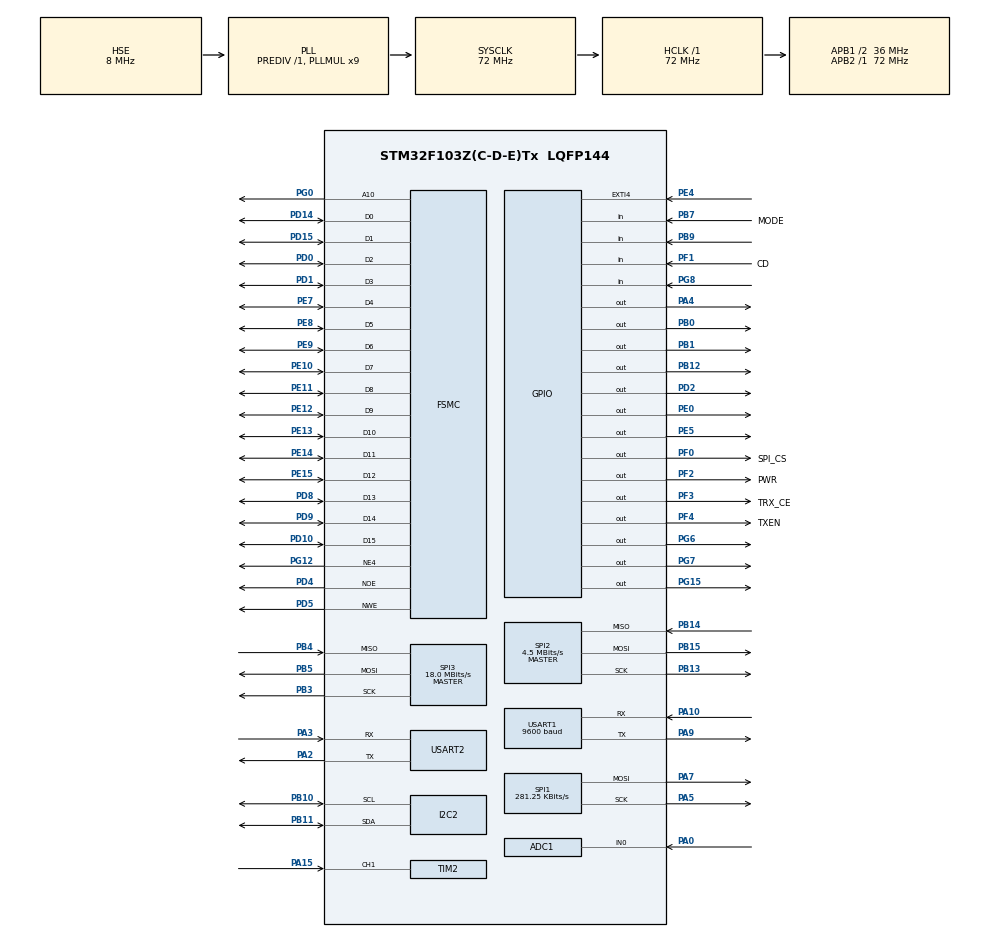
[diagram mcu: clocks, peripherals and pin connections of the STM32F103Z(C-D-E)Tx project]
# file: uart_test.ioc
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ADC1.Channel-0\#ChannelRegularConversion=ADC_CHANNEL_0
ADC1.ExternalTrigConv=ADC_EXTERNALTRIGCONV_T8_TRGO
ADC1.NbrOfConversionFlag=1
ADC1.Rank-0\#ChannelRegularConversion=1
ADC1.SamplingTime-0\#ChannelRegularConversion=ADC_SAMPLETIME_1CYCLE_5
ADC1.master=1
FSMC.AddressSetupTime1=1
FSMC.BusTurnAroundDuration1=0
FSMC.DataSetupTime1=16
FSMC.ExtendedAddressSetupTime1=0
FSMC.ExtendedBusTurnAroundDuration1=0
FSMC.ExtendedDataSetupTime1=1
FSMC.ExtendedMode1=FSMC_EXTENDED_MODE_ENABLE
Mcu.Family=STM32F1
Mcu.Name=STM32F103Z(C-D-E)Tx
Mcu.Package=LQFP144
NVIC.ADC1_2_IRQn=true\:0\:0\:false\:false\:true\:true\:true
NVIC.EXTI4_IRQn=true\:3\:0\:true\:false\:true\:true\:true
NVIC.PriorityGroup=NVIC_PRIORITYGROUP_2
NVIC.TIM2_IRQn=true\:0\:0\:false\:false\:true\:true\:true
NVIC.USART2_IRQn=true\:0\:0\:false\:false\:true\:true\:true
OSC_IN.Mode=HSE-External-Oscillator
OSC_IN.Signal=RCC_OSC_IN
OSC_OUT.Mode=HSE-External-Oscillator
OSC_OUT.Signal=RCC_OSC_OUT
PA0-WKUP.Signal=ADCx_IN0
PA10.GPIO_PuPd=GPIO_NOPULL
PA10.Mode=Asynchronous
PA10.Signal=USART1_RX
PA13.Mode=Serial_Wire
PA13.Signal=SYS_JTMS-SWDIO
PA14.Mode=Serial_Wire
PA14.Signal=SYS_JTCK-SWCLK
PA15.Signal=S_TIM2_CH1_ETR
PA2.GPIO_Speed=GPIO_SPEED_FREQ_HIGH
PA2.Mode=Asynchronous
PA2.Signal=USART2_TX
PA3.GPIO_PuPd=GPIO_NOPULL
PA3.Mode=Asynchronous
PA3.Signal=USART2_RX
PA4.Signal=GPIO_Output
PA5.GPIO_Speed=GPIO_SPEED_FREQ_HIGH
PA5.Mode=TX_Only_Simplex_Unidirect_Master
PA5.Signal=SPI1_SCK
PA7.GPIO_Speed=GPIO_SPEED_FREQ_HIGH
PA7.Mode=TX_Only_Simplex_Unidirect_Master
PA7.Signal=SPI1_MOSI
PA9.GPIO_Speed=GPIO_SPEED_FREQ_HIGH
PA9.Mode=Asynchronous
PA9.Signal=USART1_TX
PB0.Signal=GPIO_Output
PB1.Signal=GPIO_Output
PB10.Mode=I2C
PB10.Signal=I2C2_SCL
PB11.Mode=I2C
PB11.Signal=I2C2_SDA
PB12.GPIO_ModeDefaultOutputPP=GPIO_MODE_OUTPUT_PP
PB12.GPIO_PuPd=GPIO_PULLUP
PB12.GPIO_Speed=GPIO_SPEED_FREQ_HIGH
PB12.PinState=GPIO_PIN_SET
PB12.Signal=GPIO_Output
PB13.Mode=Full_Duplex_Master
PB13.Signal=SPI2_SCK
PB14.Mode=Full_Duplex_Master
PB14.Signal=SPI2_MISO
PB15.Mode=Full_Duplex_Master
PB15.Signal=SPI2_MOSI
PB3.Mode=Full_Duplex_Master
PB3.Signal=SPI3_SCK
PB4.Mode=Full_Duplex_Master
PB4.Signal=SPI3_MISO
PB5.Mode=Full_Duplex_Master
PB5.Signal=SPI3_MOSI
PB7.GPIO_Label=MODE
PB7.Signal=GPIO_Input
PB9.GPIO_PuPd=GPIO_PULLDOWN
PB9.Signal=GPIO_Input
PD0.Signal=FSMC_D2_DA2
PD1.Signal=FSMC_D3_DA3
PD10.Signal=FSMC_D15_DA15
PD14.Signal=FSMC_D0_DA0
PD15.Signal=FSMC_D1_DA1
PD2.GPIO_ModeDefaultOutputPP=GPIO_MODE_OUTPUT_PP
PD2.GPIO_PuPd=GPIO_PULLUP
PD2.GPIO_Speed=GPIO_SPEED_FREQ_HIGH
PD2.PinState=GPIO_PIN_SET
PD2.Signal=GPIO_Output
PD4.Signal=FSMC_NOE
PD5.Signal=FSMC_NWE
PD8.Signal=FSMC_D13_DA13
PD9.Signal=FSMC_D14_DA14
PE0.GPIO_Speed=GPIO_SPEED_FREQ_HIGH
PE0.Signal=GPIO_Output
PE10.Signal=FSMC_D7_DA7
PE11.Signal=FSMC_D8_DA8
PE12.Signal=FSMC_D9_DA9
PE13.Signal=FSMC_D10_DA10
PE14.Signal=FSMC_D11_DA11
PE15.Signal=FSMC_D12_DA12
PE4.GPIO_PuPd=GPIO_PULLUP
PE4.Signal=GPXTI4
PE5.GPIO_PuPd=GPIO_NOPULL
PE5.GPIO_Speed=GPIO_SPEED_FREQ_HIGH
PE5.Signal=GPIO_Output
PE7.Signal=FSMC_D4_DA4
PE8.Signal=FSMC_D5_DA5
PE9.Signal=FSMC_D6_DA6
PF0.GPIO_Label=SPI_CS
PF0.Signal=GPIO_Output
PF1.GPIO_Label=CD
PF1.Signal=GPIO_Input
PF2.GPIO_Label=PWR
PF2.Signal=GPIO_Output
PF3.GPIO_Label=TRX_CE
PF3.Signal=GPIO_Output
PF4.GPIO_Label=TXEN
PF4.Signal=GPIO_Output
PG0.Signal=FSMC_A10
PG12.Mode=NorPsramChipSelect4_1
PG12.Signal=FSMC_NE4
PG15.Signal=GPIO_Output
PG6.GPIO_ModeDefaultOutputPP=GPIO_MODE_OUTPUT_PP
PG6.GPIO_PuPd=GPIO_NOPULL
PG6.GPIO_Speed=GPIO_SPEED_FREQ_HIGH
PG6.PinState=GPIO_PIN_SET
PG6.Signal=GPIO_Output
PG7.GPIO_ModeDefaultOutputPP=GPIO_MODE_OUTPUT_PP
PG7.GPIO_PuPd=GPIO_NOPULL
PG7.GPIO_Speed=GPIO_SPEED_FREQ_HIGH
PG7.PinState=GPIO_PIN_SET
PG7.Signal=GPIO_Output
PG8.GPIO_PuPd=GPIO_PULLDOWN
PG8.Signal=GPIO_Input
ProjectManager.HeapSize=0x200
ProjectManager.StackSize=0x400
ProjectManager.TargetToolchain=MDK-ARM V5
RCC.ADCPresc=RCC_ADCPCLK2_DIV6
RCC.AHBFreq_Value=72000000
RCC.APB1CLKDivider=RCC_HCLK_DIV2
RCC.APB1Freq_Value=36000000
RCC.APB1TimFreq_Value=72000000
RCC.APB2Freq_Value=72000000
RCC.APB2TimFreq_Value=72000000
RCC.HCLKFreq_Value=72000000
RCC.PLLMUL=RCC_PLL_MUL9
RCC.PLLSourceVirtual=RCC_PLLSOURCE_HSE
RCC.SYSCLKFreq_VALUE=72000000
RCC.SYSCLKSource=RCC_SYSCLKSOURCE_PLLCLK
RCC.USBFreq_Value=72000000
SH.ADCx_IN0.0=ADC1_IN0,IN0
SH.FSMC_A10.0=FSMC_A10,A10_1
SH.FSMC_D0_DA0.0=FSMC_D0,16b-d1
SH.FSMC_D10_DA10.0=FSMC_D10,16b-d1
SH.FSMC_D11_DA11.0=FSMC_D11,16b-d1
SH.FSMC_D12_DA12.0=FSMC_D12,16b-d1
SH.FSMC_D13_DA13.0=FSMC_D13,16b-d1
SH.FSMC_D14_DA14.0=FSMC_D14,16b-d1
SH.FSMC_D15_DA15.0=FSMC_D15,16b-d1
SH.FSMC_D1_DA1.0=FSMC_D1,16b-d1
SH.FSMC_D2_DA2.0=FSMC_D2,16b-d1
SH.FSMC_D3_DA3.0=FSMC_D3,16b-d1
SH.FSMC_D4_DA4.0=FSMC_D4,16b-d1
SH.FSMC_D5_DA5.0=FSMC_D5,16b-d1
SH.FSMC_D6_DA6.0=FSMC_D6,16b-d1
SH.FSMC_D7_DA7.0=FSMC_D7,16b-d1
SH.FSMC_D8_DA8.0=FSMC_D8,16b-d1
SH.FSMC_D9_DA9.0=FSMC_D9,16b-d1
SH.FSMC_NOE.0=FSMC_NOE,Lcd1
SH.FSMC_NWE.0=FSMC_NWE,Lcd1
SH.S_TIM2_CH1_ETR.0=TIM2_CH1,Input_Capture1_from_TI1
SPI1.BaudRatePrescaler=SPI_BAUDRATEPRESCALER_256
SPI1.CalculateBaudRate=281.25 KBits/s
SPI1.Direction=SPI_DIRECTION_2LINES
SPI1.Mode=SPI_MODE_MASTER
SPI1.VirtualType=VM_MASTER
SPI2.BaudRatePrescaler=SPI_BAUDRATEPRESCALER_8
SPI2.CalculateBaudRate=4.5 MBits/s
SPI2.Direction=SPI_DIRECTION_2LINES
SPI2.Mode=SPI_MODE_MASTER
SPI2.VirtualType=VM_MASTER
SPI3.CalculateBaudRate=18.0 MBits/s
SPI3.Direction=SPI_DIRECTION_2LINES
SPI3.Mode=SPI_MODE_MASTER
SPI3.VirtualType=VM_MASTER
TIM1.Period=0xffff
TIM1.Prescaler=71
TIM2.Channel-Input_Capture1_from_TI1=TIM_CHANNEL_1
TIM2.Period=65535
TIM2.Prescaler=71
TIM8.Period=4999
TIM8.Prescaler=7199
TIM8.TIM_MasterOutputTrigger=TIM_TRGO_UPDATE
USART1.BaudRate=9600
USART1.VirtualMode=VM_ASYNC
USART2.VirtualMode=VM_ASYNC
VP_TIM1_VS_ClockSourceINT.Mode=Internal
VP_TIM2_VS_ClockSourceINT.Mode=Internal
VP_TIM8_VS_ClockSourceINT.Mode=Internal
board=custom

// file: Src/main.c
/* USER CODE BEGIN Header */
/**
  ******************************************************************************
  * @file           : main.c
  * @brief          : Main program body
  ******************************************************************************
  * @attention
  *
  * <h2><center>&copy; Copyright (c) 2020 STMicroelectronics.
  * All rights reserved.</center></h2>
  *
  * This software component is licensed by ST under BSD 3-Clause license,
  * the "License"; You may not use this file except in compliance with the
  * License. You may obtain a copy of the License at:
  *                        opensource.org/licenses/BSD-3-Clause
  *
  ******************************************************************************
  */
/* USER CODE END Header */

#include "main.h"
#include "adc.h"
#include "i2c.h"
#include "spi.h"
#include "tim.h"
#include "usart.h"
#include "gpio.h"
#include "fsmc.h"

/* USER CODE BEGIN Includes */
#include "stdio.h"
#include "lcd.h"
#include "esp8266.h"
#include "oled.h"
#include "bmp.h"
#include "24l01.h"
#include "string.h"
#include "NRF905.h"

extern uint8_t RX_buff;
uint8_t nrf24l01_buff[50];
uint16_t LED_Show=0;
char Voltage_Show[50];
char Tempture_Show[30];
char TShow[50];
char HShow[50];
char Show[50];

uint8_t temperature;
uint8_t humidity;
uint8_t temp;
uint8_t humi;
uint8_t rx_buf[5];

char T_Show[20];
char RH_Show[20];

uint8_t SHT3X_Modecommand_Buffer[2]={0x20,0x32};   //periodic mode commands 为什么是 0x20,0x32 见本帖附件page11
uint8_t SHT3X_Fetchcommand_Bbuffer[2]={0xE0,0x00}; //Fetch data 为什么是 0xE0,0x00 见本帖附件page11
uint8_t SHT3X_Data_Buffer[6];                           //byte0,1为温度 byte4,5为湿度 见本帖附件page11
uint8_t Humidity_S1;                               //湿度 正数   如果想得到小数点后几位见后面的分析
int8_t  Temperature_S1;                            //温度 可能为负数。如果想得到小数点后几位见后面的分析
float TemValue;
float RH_Value;
void getTempAndRH(void);

#define Trig_H  	HAL_GPIO_WritePin(GPIOE,GPIO_PIN_0,GPIO_PIN_SET );
#define Trig_L  	HAL_GPIO_WritePin(GPIOE,GPIO_PIN_0,GPIO_PIN_RESET );
uint16_t count;
uint16_t distance;
uint16_t time;
uint16_t i;
void getDistance(void);
void user_delaynus_tim(uint32_t nus);

void nrf905MyInit(void);

/* USER CODE END Includes */

void SystemClock_Config(void);

/* USER CODE BEGIN 0 */

NRF905_hw_t NRF905_hw;
NRF905_t NRF905;

int master;
int ret;

char buffer[64];
char nrf905_payload_buffer[NRF905_MAX_PAYLOAD + 1];

int message;
int message_length;

uint32_t my_address;
uint32_t receiver_address;

#define ADDRESS_MASTER 0x25D34478
#define ADDRESS_SLAVE  0x6DA0C59B

/* USER CODE END 0 */

int main(void)
{

  /* MCU Configuration--------------------------------------------------------*/

  /* Reset of all peripherals, Initializes the Flash interface and the Systick. */
  HAL_Init();

  /* Configure the system clock */
  SystemClock_Config();

  /* Initialize all configured peripherals */
  MX_GPIO_Init();
  MX_FSMC_Init();
  MX_USART1_UART_Init();
  MX_USART2_UART_Init();
  MX_SPI1_Init();
  MX_SPI2_Init();
  MX_ADC1_Init();
  MX_TIM8_Init();
  MX_I2C2_Init();
  MX_TIM2_Init();
  MX_SPI3_Init();
  MX_TIM1_Init();
  /* USER CODE BEGIN 2 */
  HAL_UART_Receive_IT(&huart2, &RX_buff, 1);

  LCD_Init();

  HAL_Delay(1000);

//  NRF24L01_Init();

//  while(NRF24L01_Check()==1){}

//  NRF24L01_TX_Mode();
//	NRF24L01_RX_Mode();

	HAL_I2C_Master_Transmit(&hi2c2,0x44<<1,SHT3X_Modecommand_Buffer,2,0x10);  //第一步，发送periodic mode commands，传感器周期性的进行温湿度转换

	nrf905MyInit();

//	NRF905_set_auto_retransmit(&NRF905,NRF905_AUTO_RETRAN_ENABLE);			//自动发送

  /* USER CODE END 2 */

  /* Infinite loop */
  /* USER CODE BEGIN WHILE */
  while (1)
  {

		/*  发送部分的数据处理 */
//		getTempAndRH();
//
//		getDistance();
//
//		sprintf(Show,"temp:%.2f  RH:%.2f    dist:%d\r\n",TemValue,RH_Value,distance);
//
//		HAL_UART_Transmit(&huart1,(uint8_t*)Show,strlen(Show),0xffff);		//这项是串口显示测试
		/*  发送部分的数据处理 */

//    if(NRF24L01_RxPacket(nrf24l01_buff)==0)
//    {
//        LCD_ShowString(60,100,200,200,16,nrf24l01_buff);
//    }

//		if(HAL_GPIO_ReadPin(GPIOE,GPIO_PIN_5)==0)
//		{
//			uint8_t test2=NRF24L01_TxPacket((uint8_t *)Show);
//		  if(NRF24L01_RxPacket(nrf24l01_buff)==0)
//			{
//				/*  接受部分的数据显示24l01 */
//					uint8_t dataone[10];
//					uint8_t datatwo[8];
//					uint8_t datathree[12];
//					for(uint8_t i = 0;i<10;i++){
//						dataone[i]=nrf24l01_buff[i];
//					}
//					for(uint8_t i = 0;i<8;i++){
//						datatwo[i]=nrf24l01_buff[i+12];
//					}
//					for(uint8_t i = 0;i<12;i++){
//						datathree[i]=nrf24l01_buff[i+24];
//					}
//					LCD_ShowString(60,100,200,200,16,dataone);
//					LCD_ShowString(60,120,200,200,16,datatwo);
//					LCD_Fill(60,140,160,160,WHITE);
//					LCD_ShowString(60,140,200,200,16,datathree);
//					LCD_ShowString(130,140,200,200,16,"CM");
//				/*  接受部分的数据显示24l01 */
//			}
//		}

	/*  nrf905发送部分  */

//		int ret = NRF905_tx(&NRF905, my_address, Show, strlen(Show),		//这里用Show代替了nrf905_payload_buffer
//				NRF905_NEXTMODE_RX);

	/*  nrf905发送部分  */

	/*  接受部分的数据显示nrf905 */

		NRF905_rx(&NRF905);

		uint32_t wait = rand() % 21 + 20;
		uint8_t response_ok = 0;
		uint8_t state_DR = NRF905_data_ready(&NRF905);
		uint8_t state_AM = NRF905_address_matched(&NRF905);

		if (state_DR && state_AM) {
			NRF905_read(&NRF905, nrf905_payload_buffer, NRF905_MAX_PAYLOAD);
			nrf905_payload_buffer[NRF905_MAX_PAYLOAD] = 0x00;
			response_ok=1;
		}
		if(response_ok==0)
		{
//			LCD_ShowString(60,180,200,200,16,"No response\r\n");
		}
		else{
			LCD_Fill(60,180,200,200,WHITE);
			response_ok=0;
		}

		uint8_t dataone[10];
		uint8_t datatwo[8];
		uint8_t datathree[12];
		for(uint8_t i = 0;i<10;i++){
			dataone[i]=nrf905_payload_buffer[i];
		}
		for(uint8_t i = 0;i<8;i++){
			datatwo[i]=nrf905_payload_buffer[i+12];
		}
		for(uint8_t i = 0;i<12;i++){
			datathree[i]=nrf905_payload_buffer[i+24];
		}
		LCD_ShowString(60,100,200,200,16,dataone);
		LCD_ShowString(60,120,200,200,16,datatwo);
		LCD_Fill(60,140,160,160,WHITE);
		LCD_ShowString(60,140,200,200,16,datathree);
		LCD_ShowString(130,140,200,200,16,"CM");
	/*  接受部分的数据显示nrf905 */

    HAL_Delay(1000);
    /* USER CODE END WHILE */

  }
}

void SystemClock_Config(void)
{
  RCC_OscInitTypeDef RCC_OscInitStruct = {0};
  RCC_ClkInitTypeDef RCC_ClkInitStruct = {0};
  RCC_PeriphCLKInitTypeDef PeriphClkInit = {0};

  /** Initializes the CPU, AHB and APB busses clocks
  */
  RCC_OscInitStruct.OscillatorType = RCC_OSCILLATORTYPE_HSE;
  RCC_OscInitStruct.HSEState = RCC_HSE_ON;
  RCC_OscInitStruct.HSEPredivValue = RCC_HSE_PREDIV_DIV1;
  RCC_OscInitStruct.HSIState = RCC_HSI_ON;
  RCC_OscInitStruct.PLL.PLLState = RCC_PLL_ON;
  RCC_OscInitStruct.PLL.PLLSource = RCC_PLLSOURCE_HSE;
  RCC_OscInitStruct.PLL.PLLMUL = RCC_PLL_MUL9;
  if (HAL_RCC_OscConfig(&RCC_OscInitStruct) != HAL_OK)
  {
    Error_Handler();
  }
  /** Initializes the CPU, AHB and APB busses clocks
  */
  RCC_ClkInitStruct.ClockType = RCC_CLOCKTYPE_HCLK|RCC_CLOCKTYPE_SYSCLK
                              |RCC_CLOCKTYPE_PCLK1|RCC_CLOCKTYPE_PCLK2;
  RCC_ClkInitStruct.SYSCLKSource = RCC_SYSCLKSOURCE_PLLCLK;
  RCC_ClkInitStruct.AHBCLKDivider = RCC_SYSCLK_DIV1;
  RCC_ClkInitStruct.APB1CLKDivider = RCC_HCLK_DIV2;
  RCC_ClkInitStruct.APB2CLKDivider = RCC_HCLK_DIV1;

  if (HAL_RCC_ClockConfig(&RCC_ClkInitStruct, FLASH_LATENCY_2) != HAL_OK)
  {
    Error_Handler();
  }
  PeriphClkInit.PeriphClockSelection = RCC_PERIPHCLK_ADC;
  PeriphClkInit.AdcClockSelection = RCC_ADCPCLK2_DIV6;
  if (HAL_RCCEx_PeriphCLKConfig(&PeriphClkInit) != HAL_OK)
  {
    Error_Handler();
  }
}

/* USER CODE BEGIN 4 */
void HAL_GPIO_EXTI_Callback(uint16_t GPIO_Pin)
{
	if(GPIO_Pin==GPIO_PIN_4)
	{
		HAL_GPIO_TogglePin(GPIOE,GPIO_PIN_5);
	}
}

void HAL_ADC_ConvCpltCallback(ADC_HandleTypeDef* hadc)
{
	static uint16_t ADC_Value;
	static float Tempture;
	uint8_t i;
	if(hadc==&hadc1)
	{
		ADC_Value=HAL_ADC_GetValue(&hadc1);
		Tempture=(float)ADC_Value/4095.0f*3.3f*100/2.9f;
//		if(Tempture>100)
//			Tempture=0;
		for(i=0;i<30;i++)
		{
			Tempture_Show[i]=0;
		}
		LED_Show=1;
		sprintf((char*)Tempture_Show,"Tempture:%.4f",Tempture);

	}
}

void getTempAndRH(void)
{
		HAL_I2C_Master_Transmit(&hi2c2,0x44<<1,SHT3X_Fetchcommand_Bbuffer,2,0x10); //第二步，随时读取传感器的数据
    HAL_I2C_Master_Receive(&hi2c2,(0x44<<1)+1,SHT3X_Data_Buffer,6,0x10);

		Temperature_S1=(((SHT3X_Data_Buffer[0]<<8)+SHT3X_Data_Buffer[1])*175)/65535-45; //得到摄氏度温度
		Humidity_S1=(((SHT3X_Data_Buffer[3]<<8)+SHT3X_Data_Buffer[4])*100)/65535;  //可以得到相对湿度

		TemValue=(float)(((SHT3X_Data_Buffer[0]<<8)+SHT3X_Data_Buffer[1])*175)/65535-45; //得到摄氏度温度
		RH_Value=(float)(((SHT3X_Data_Buffer[3]<<8)+SHT3X_Data_Buffer[4])*100)/65535;  //可以得到相对湿度
}

void getDistance(void)
{
	Trig_H ;
	user_delaynus_tim(12);
	Trig_L ;
	HAL_TIM_Base_Start(&htim2);
	while(HAL_GPIO_ReadPin (GPIOA ,GPIO_PIN_15) != GPIO_PIN_SET);
	__HAL_TIM_SET_COUNTER(&htim2,0);
	while(HAL_GPIO_ReadPin (GPIOA ,GPIO_PIN_15) == GPIO_PIN_SET);
	count = __HAL_TIM_GET_COUNTER(&htim2);
  HAL_TIM_Base_Stop(&htim2);
	distance = (uint16_t )count*0.017;
}

void user_delaynus_tim(uint32_t nus)
{

 uint16_t  differ = 0xffff-nus-5;
 //设置定时器2的技术初始值
  __HAL_TIM_SET_COUNTER(&htim2,differ);
  //开启定时器
  HAL_TIM_Base_Start(&htim2);

  while( differ<0xffff-5)
 {
  differ = __HAL_TIM_GET_COUNTER(&htim2);
 };
 //关闭定时器
  HAL_TIM_Base_Stop(&htim2);
}

void nrf905MyInit(void)
{
	uint32_t uid = 0x00;
	for (uint8_t i = 0; i < 3; ++i) {
		uid += *(uint32_t*) (UID_BASE + i * 4);
	}
	srand(uid);

	NRF905_hw.gpio[NRF905_HW_GPIO_TXEN].pin = TXEN_Pin;
	NRF905_hw.gpio[NRF905_HW_GPIO_TXEN].port = TXEN_GPIO_Port;
	NRF905_hw.gpio[NRF905_HW_GPIO_TRX_EN].pin = TRX_CE_Pin;
	NRF905_hw.gpio[NRF905_HW_GPIO_TRX_EN].port = TRX_CE_GPIO_Port;
	NRF905_hw.gpio[NRF905_HW_GPIO_PWR].pin = PWR_Pin;
	NRF905_hw.gpio[NRF905_HW_GPIO_PWR].port = PWR_GPIO_Port;

	NRF905_hw.gpio[NRF905_HW_GPIO_CD].pin = CD_Pin;
	NRF905_hw.gpio[NRF905_HW_GPIO_CD].port = CD_GPIO_Port;
	NRF905_hw.gpio[NRF905_HW_GPIO_AM].pin = 0;
	NRF905_hw.gpio[NRF905_HW_GPIO_AM].port = NULL;
	NRF905_hw.gpio[NRF905_HW_GPIO_DR].pin = 0;
	NRF905_hw.gpio[NRF905_HW_GPIO_DR].port = NULL;

	NRF905_hw.gpio[NRF905_HW_GPIO_CS].pin = SPI_CS_Pin;
	NRF905_hw.gpio[NRF905_HW_GPIO_CS].port = SPI_CS_GPIO_Port;

	NRF905_hw.tim = &htim1;
	NRF905_hw.spi = &hspi3;

	master = HAL_GPIO_ReadPin(MODE_GPIO_Port, MODE_Pin);
	if (master == 1) {
		my_address = ADDRESS_MASTER;
		receiver_address = ADDRESS_SLAVE;
	} else {
		my_address = ADDRESS_SLAVE;
		receiver_address = ADDRESS_MASTER;
	}

	NRF905_init(&NRF905, &NRF905_hw);
	NRF905_set_listen_address(&NRF905, receiver_address);
}

/* USER CODE END 4 */

void Error_Handler(void)
{
}

/************************ (C) COPYRIGHT STMicroelectronics *****END OF FILE****/
